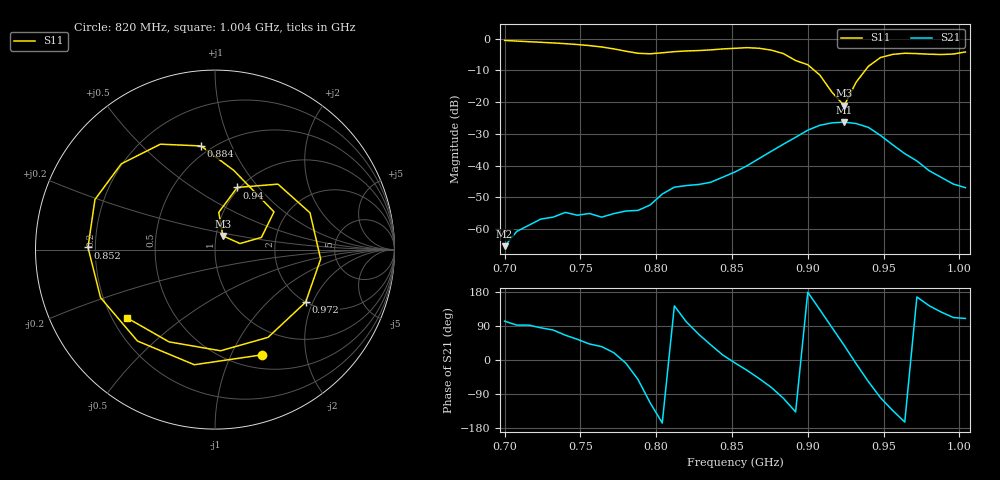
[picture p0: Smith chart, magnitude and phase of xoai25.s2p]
# Hz S RI R 50
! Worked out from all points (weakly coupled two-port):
!   39 points, 700 MHz to 1.004 GHz, reference 50 ohm
!   highest |S21| = -26.28 dB at 924 MHz (marker M1); lowest = -65.4 dB at 700 MHz (marker M2)
!   lowest |S11| = -21.1 dB at 924 MHz (marker M3), VSWR 1.19, Z = 53.9 + j8.32 ohm
!   |S11| at or under -10 dB: 904.5 MHz to 937.9 MHz (33.42 MHz wide, 3.63 % of centre)
!   S12 and S22 are empty: the file has one direction only
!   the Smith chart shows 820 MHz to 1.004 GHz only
!   S11 on the Smith chart (normalised r, x): 820 MHz: 0.66, -1.32; 852 MHz: 0.17, +0.01; 884 MHz: 0.44, +0.77; 940 MHz: 0.97, +0.78; 972 MHz: 1.99, -1.77; 1.004 GHz: 0.26, -0.32
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7e8  0.7589 0.5556  -0.000115 0.000525  0 0  0 0
7.24e8  0.8431 -0.25  0.000126 0.00143  0 0  0 0
7.4e8  0.4575 -0.7007  0.000758 0.00167  0 0  0 0
7.56e8  -0.1957 -0.7558  0.0013 0.00119  0 0  0 0
7.72e8  -0.6656 -0.1932  0.00165 0.000578  0 0  0 0
7.8e8  -0.5915 0.2357  0.00191 -0.00028  0 0  0 0
7.88e8  -0.2359 0.5412  0.00123 -0.00154  0 0  0 0
7.96e8  0.2563 0.5198  -0.000931 -0.00221  0 0  0 0
8.04e8  0.5788 0.1627  -0.00346 -0.00085  0 0  0 0
8.2e8  0.2636 -0.5861  -0.000847 0.00478  0 0  0 0
8.36e8  -0.4319 -0.5095  0.00419 0.00352  0 0  0 0
8.52e8  -0.7077 0.012  0.00787 -0.00107  0 0  0 0
8.68e8  -0.5225 0.4776  0.00848 -0.00982  0 0  0 0
8.84e8  -0.0776 0.5775  -0.00429 -0.0214  0 0  0 0
9e8  0.3287 0.2102  -0.0362 0.000684  0 0  0 0
9.08e8  0.2587 0.0679  -0.0292 0.0319  0 0  0 0
9.24e8  0.0438 0.0766  0.0379 0.0303  0 0  0 0
9.4e8  0.124 0.3464  0.0218 -0.0336  0 0  0 0
9.56e8  0.5294 0.2049  -0.0146 -0.0156  0 0  0 0
9.72e8  0.5051 -0.2928  -0.0115 0.00278  0 0  0 0
9.88e8  0.031 -0.5637  -0.0039 0.00525  0 0  0 0
1.004e9  -0.4882 -0.3816  -0.00151 0.00424  0 0  0 0
